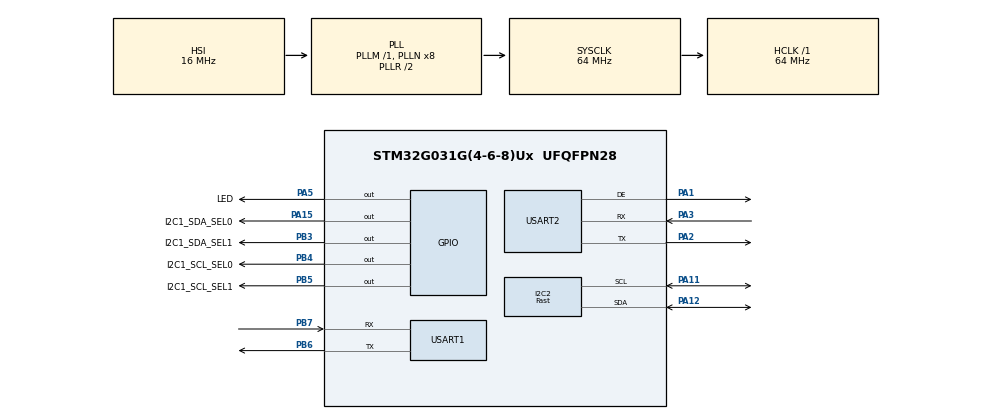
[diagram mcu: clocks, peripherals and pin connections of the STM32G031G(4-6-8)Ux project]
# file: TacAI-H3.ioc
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Dma.Request0=USART2_RX
Dma.Request1=USART2_TX
Dma.USART2_RX.0.Direction=DMA_PERIPH_TO_MEMORY
Dma.USART2_RX.0.EventEnable=DISABLE
Dma.USART2_RX.0.Instance=DMA1_Channel1
Dma.USART2_RX.0.MemDataAlignment=DMA_MDATAALIGN_BYTE
Dma.USART2_RX.0.MemInc=DMA_MINC_ENABLE
Dma.USART2_RX.0.Mode=DMA_NORMAL
Dma.USART2_RX.0.PeriphDataAlignment=DMA_PDATAALIGN_BYTE
Dma.USART2_RX.0.PeriphInc=DMA_PINC_DISABLE
Dma.USART2_RX.0.Polarity=HAL_DMAMUX_REQ_GEN_RISING
Dma.USART2_RX.0.Priority=DMA_PRIORITY_LOW
Dma.USART2_RX.0.RequestNumber=1
Dma.USART2_RX.0.SignalID=NONE
Dma.USART2_RX.0.SyncEnable=DISABLE
Dma.USART2_RX.0.SyncPolarity=HAL_DMAMUX_SYNC_NO_EVENT
Dma.USART2_RX.0.SyncRequestNumber=1
Dma.USART2_RX.0.SyncSignalID=NONE
Dma.USART2_TX.1.Direction=DMA_MEMORY_TO_PERIPH
Dma.USART2_TX.1.EventEnable=DISABLE
Dma.USART2_TX.1.Instance=DMA1_Channel2
Dma.USART2_TX.1.MemDataAlignment=DMA_MDATAALIGN_BYTE
Dma.USART2_TX.1.MemInc=DMA_MINC_ENABLE
Dma.USART2_TX.1.Mode=DMA_NORMAL
Dma.USART2_TX.1.PeriphDataAlignment=DMA_PDATAALIGN_BYTE
Dma.USART2_TX.1.PeriphInc=DMA_PINC_DISABLE
Dma.USART2_TX.1.Polarity=HAL_DMAMUX_REQ_GEN_RISING
Dma.USART2_TX.1.Priority=DMA_PRIORITY_LOW
Dma.USART2_TX.1.RequestNumber=1
Dma.USART2_TX.1.SignalID=NONE
Dma.USART2_TX.1.SyncEnable=DISABLE
Dma.USART2_TX.1.SyncPolarity=HAL_DMAMUX_SYNC_NO_EVENT
Dma.USART2_TX.1.SyncRequestNumber=1
Dma.USART2_TX.1.SyncSignalID=NONE
I2C2.I2C_Speed_Mode=I2C_Fast
I2C2.Timing=0x00C12166
IWDG.Prescaler=IWDG_PRESCALER_64
Mcu.Family=STM32G0
Mcu.Name=STM32G031G(4-6-8)Ux
Mcu.Package=UFQFPN28
NVIC.DMA1_Channel1_IRQn=true\:0\:0\:false\:false\:true\:false\:true\:true
NVIC.DMA1_Channel2_3_IRQn=true\:0\:0\:false\:false\:true\:false\:true\:true
NVIC.TIM14_IRQn=true\:0\:0\:false\:false\:true\:true\:true\:true
NVIC.TIM16_IRQn=true\:0\:0\:false\:false\:true\:true\:true\:true
NVIC.USART2_IRQn=true\:0\:0\:false\:false\:true\:true\:true\:true
PA1.Mode=Hardware Flow Control (RS485)
PA1.Signal=USART2_DE
PA11\ [PA9].Mode=I2C
PA11\ [PA9].Signal=I2C2_SCL
PA12\ [PA10].Mode=I2C
PA12\ [PA10].Signal=I2C2_SDA
PA13.Mode=Serial_Wire
PA13.Signal=SYS_SWDIO
PA14-BOOT0.Mode=Serial_Wire
PA14-BOOT0.Signal=SYS_SWCLK
PA2.Mode=Asynchronous
PA2.Signal=USART2_TX
PA3.Mode=Asynchronous
PA3.Signal=USART2_RX
PA5.GPIO_Label=LED
PA5.Signal=GPIO_Output
PA15.GPIO_Label=I2C1_SDA_SEL0
PA15.Signal=GPIO_Output
PB3.GPIO_Label=I2C1_SDA_SEL1
PB3.Signal=GPIO_Output
PB4.GPIO_Label=I2C1_SCL_SEL0
PB4.Signal=GPIO_Output
PB5.GPIO_Label=I2C1_SCL_SEL1
PB5.Signal=GPIO_Output
PB6.Mode=Asynchronous
PB6.Signal=USART1_TX
PB7.Mode=Asynchronous
PB7.Signal=USART1_RX
ProjectManager.HeapSize=0x200
ProjectManager.StackSize=0x800
ProjectManager.TargetToolchain=MDK-ARM V5.32
RCC.ADCFreq_Value=64000000
RCC.AHBFreq_Value=64000000
RCC.CortexFreq_Value=64000000
RCC.EXTERNAL_CLOCK_VALUE=12288000
RCC.HCLKFreq_Value=64000000
RCC.HSE_VALUE=8000000
RCC.HSI_VALUE=16000000
RCC.LSE_VALUE=32768
RCC.SYSCLKFreq_VALUE=64000000
RCC.SYSCLKSource=RCC_SYSCLKSOURCE_PLLCLK
RCC.VCOOutputFreq_Value=128000000
TIM14.Period=999
TIM14.Prescaler=63
TIM16.Period=99
TIM16.Prescaler=63
TIM2.Period=999
TIM2.Prescaler=63
USART1.VirtualMode-Asynchronous=VM_ASYNC
USART2.VirtualMode-Asynchronous=VM_ASYNC
USART2.VirtualMode-Hardware\ Flow\ Control\ (RS485)=VM_ASYNC
VP_IWDG_VS_IWDG.Mode=IWDG_Activate
VP_TIM14_VS_ClockSourceINT.Mode=Enable_Timer
VP_TIM16_VS_ClockSourceINT.Mode=Enable_Timer
VP_TIM2_VS_ClockSourceINT.Mode=Internal
board=custom

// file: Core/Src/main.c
/* USER CODE BEGIN Header */
/**
 ******************************************************************************
 * @file           : main.c
 * @brief          : Main program body
 ******************************************************************************
 * @attention
 *
 * Copyright (c) 2025 STMicroelectronics.
 * All rights reserved.
 *
 * This software is licensed under terms that can be found in the LICENSE file
 * in the root directory of this software component.
 * If no LICENSE file comes with this software, it is provided AS-IS.
 *
 ******************************************************************************
 */
/* USER CODE END Header */
#include "main.h"
#include "dma.h"
#include "i2c.h"
#include "iwdg.h"
#include "tim.h"
#include "usart.h"
#include "gpio.h"

/* USER CODE BEGIN Includes */
#include "app.h"
#include "app_spi.h"
#include <stdio.h>
/* USER CODE END Includes */

void SystemClock_Config(void);

/* USER CODE BEGIN 0 */
static void APP_EarlyBootUartInit(void)
{
    RCC->IOPENR |= RCC_IOPENR_GPIOBEN;
    RCC->APBENR2 |= RCC_APBENR2_USART1EN;
    (void)RCC->IOPENR;
    GPIOB->MODER = (GPIOB->MODER & ~((3u << (6u * 2u)) | (3u << (7u * 2u)))) |
                   (2u << (6u * 2u)) | (2u << (7u * 2u));
    GPIOB->AFR[0] &= ~((0xFu << (6u * 4u)) | (0xFu << (7u * 4u)));
    GPIOB->OSPEEDR |= (2u << (6u * 2u)) | (2u << (7u * 2u));
    USART1->CR1 = 0u;
    USART1->BRR = 16000000u / 115200u;
    USART1->CR1 = USART_CR1_TE | USART_CR1_RE | USART_CR1_UE;
}

static void APP_EarlyBootUartWrite(const char *text)
{
    while (*text != '\0')
    {
        while ((USART1->ISR & USART_ISR_TXE_TXFNF) == 0u) { }
        USART1->TDR = (uint8_t)*text++;
    }
    while ((USART1->ISR & USART_ISR_TC) == 0u) { }
}
/* USER CODE END 0 */

int main(void)
{

    /* USER CODE BEGIN 1 */

    /*
     * The resident UART bootloader masks global interrupts while handing
     * control to the application. PRIMASK is not reset by a branch to the
     * application's Reset_Handler, so restore the normal reset state before
     * HAL_Init() starts SysTick. Without this, HAL_Delay() in the sensor
     * matrix start-up never advances after an IAP update.
     */
    __enable_irq();
    APP_EarlyBootUartInit();
    APP_EarlyBootUartWrite("BOOT0 app reset entered\r\n");

    /* USER CODE END 1 */

    /* MCU Configuration--------------------------------------------------------*/

    /* Reset of all peripherals, Initializes the Flash interface and the Systick. */
    HAL_Init();

    /* Configure the system clock */
    SystemClock_Config();

    /* Initialize all configured peripherals */
    MX_GPIO_Init();
    MX_USART1_UART_Init();
    printf("BOOT1 clock gpio uart1 ok\r\n");
#if !APP_ENABLE_SPI
    MX_DMA_Init();
    printf("BOOT2 dma ok\r\n");
#else
    printf("BOOT2 uart2 dma skipped for spi2\r\n");
#endif
    MX_I2C2_Init();
    printf("BOOT3 i2c2 ok\r\n");
    MX_TIM2_Init();
    MX_TIM14_Init();
    MX_TIM16_Init();
    printf("BOOT4 timers ok\r\n");
#if !APP_ENABLE_SPI
    MX_USART2_UART_Init();
    printf("BOOT5 uart2 ok\r\n");
#else
    /* Establish the SPI peripheral before the sensor scan/baseline. A
     * pending request remains queued until APP_Init returns; no sample is
     * marked valid during sensor initialization. */
    APP_SPI_Init();
    printf("BOOT5 spi2 ready; matrix init next\r\n");
#endif
    /* USER CODE BEGIN 2 */
    APP_Init();
    printf("BOOT6 app init ok\r\n");
    MX_IWDG_Init();
    printf("BOOT7 watchdog ok\r\n");
    /* USER CODE END 2 */

    /* Infinite loop */
    while (1)
    {

        /* USER CODE BEGIN 3 */
        APP_Loop();
    }
    /* USER CODE END 3 */
}

void SystemClock_Config(void)
{
    RCC_OscInitTypeDef RCC_OscInitStruct = {0};
    RCC_ClkInitTypeDef RCC_ClkInitStruct = {0};

    /** Configure the main internal regulator output voltage
     */
    HAL_PWREx_ControlVoltageScaling(PWR_REGULATOR_VOLTAGE_SCALE1);

    /** Initializes the RCC Oscillators according to the specified parameters
     * in the RCC_OscInitTypeDef structure.
     */
    RCC_OscInitStruct.OscillatorType = RCC_OSCILLATORTYPE_HSI | RCC_OSCILLATORTYPE_LSI;
    RCC_OscInitStruct.HSIState = RCC_HSI_ON;
    RCC_OscInitStruct.HSIDiv = RCC_HSI_DIV1;
    RCC_OscInitStruct.HSICalibrationValue = RCC_HSICALIBRATION_DEFAULT;
    RCC_OscInitStruct.LSIState = RCC_LSI_ON;
    RCC_OscInitStruct.PLL.PLLState = RCC_PLL_ON;
    RCC_OscInitStruct.PLL.PLLSource = RCC_PLLSOURCE_HSI;
    RCC_OscInitStruct.PLL.PLLM = RCC_PLLM_DIV1;
    RCC_OscInitStruct.PLL.PLLN = 8;
    RCC_OscInitStruct.PLL.PLLP = RCC_PLLP_DIV2;
    RCC_OscInitStruct.PLL.PLLQ = RCC_PLLQ_DIV2;
    RCC_OscInitStruct.PLL.PLLR = RCC_PLLR_DIV2;
    if (HAL_RCC_OscConfig(&RCC_OscInitStruct) != HAL_OK)
    {
        Error_Handler();
    }

    /** Initializes the CPU, AHB and APB buses clocks
     */
    RCC_ClkInitStruct.ClockType = RCC_CLOCKTYPE_HCLK | RCC_CLOCKTYPE_SYSCLK | RCC_CLOCKTYPE_PCLK1;
    RCC_ClkInitStruct.SYSCLKSource = RCC_SYSCLKSOURCE_PLLCLK;
    RCC_ClkInitStruct.AHBCLKDivider = RCC_SYSCLK_DIV1;
    RCC_ClkInitStruct.APB1CLKDivider = RCC_HCLK_DIV1;

    if (HAL_RCC_ClockConfig(&RCC_ClkInitStruct, FLASH_LATENCY_2) != HAL_OK)
    {
        Error_Handler();
    }
}

void Error_Handler(void)
{
    /* USER CODE BEGIN Error_Handler_Debug */
    /* User can add his own implementation to report the HAL error return state */
    __disable_irq();
    APP_EarlyBootUartWrite("BOOT_ERROR Error_Handler\r\n");
    while (1)
    {
        APP_EarlyBootUartWrite("BOOT_ERROR Error_Handler\r\n");
    }
    /* USER CODE END Error_Handler_Debug */
}
